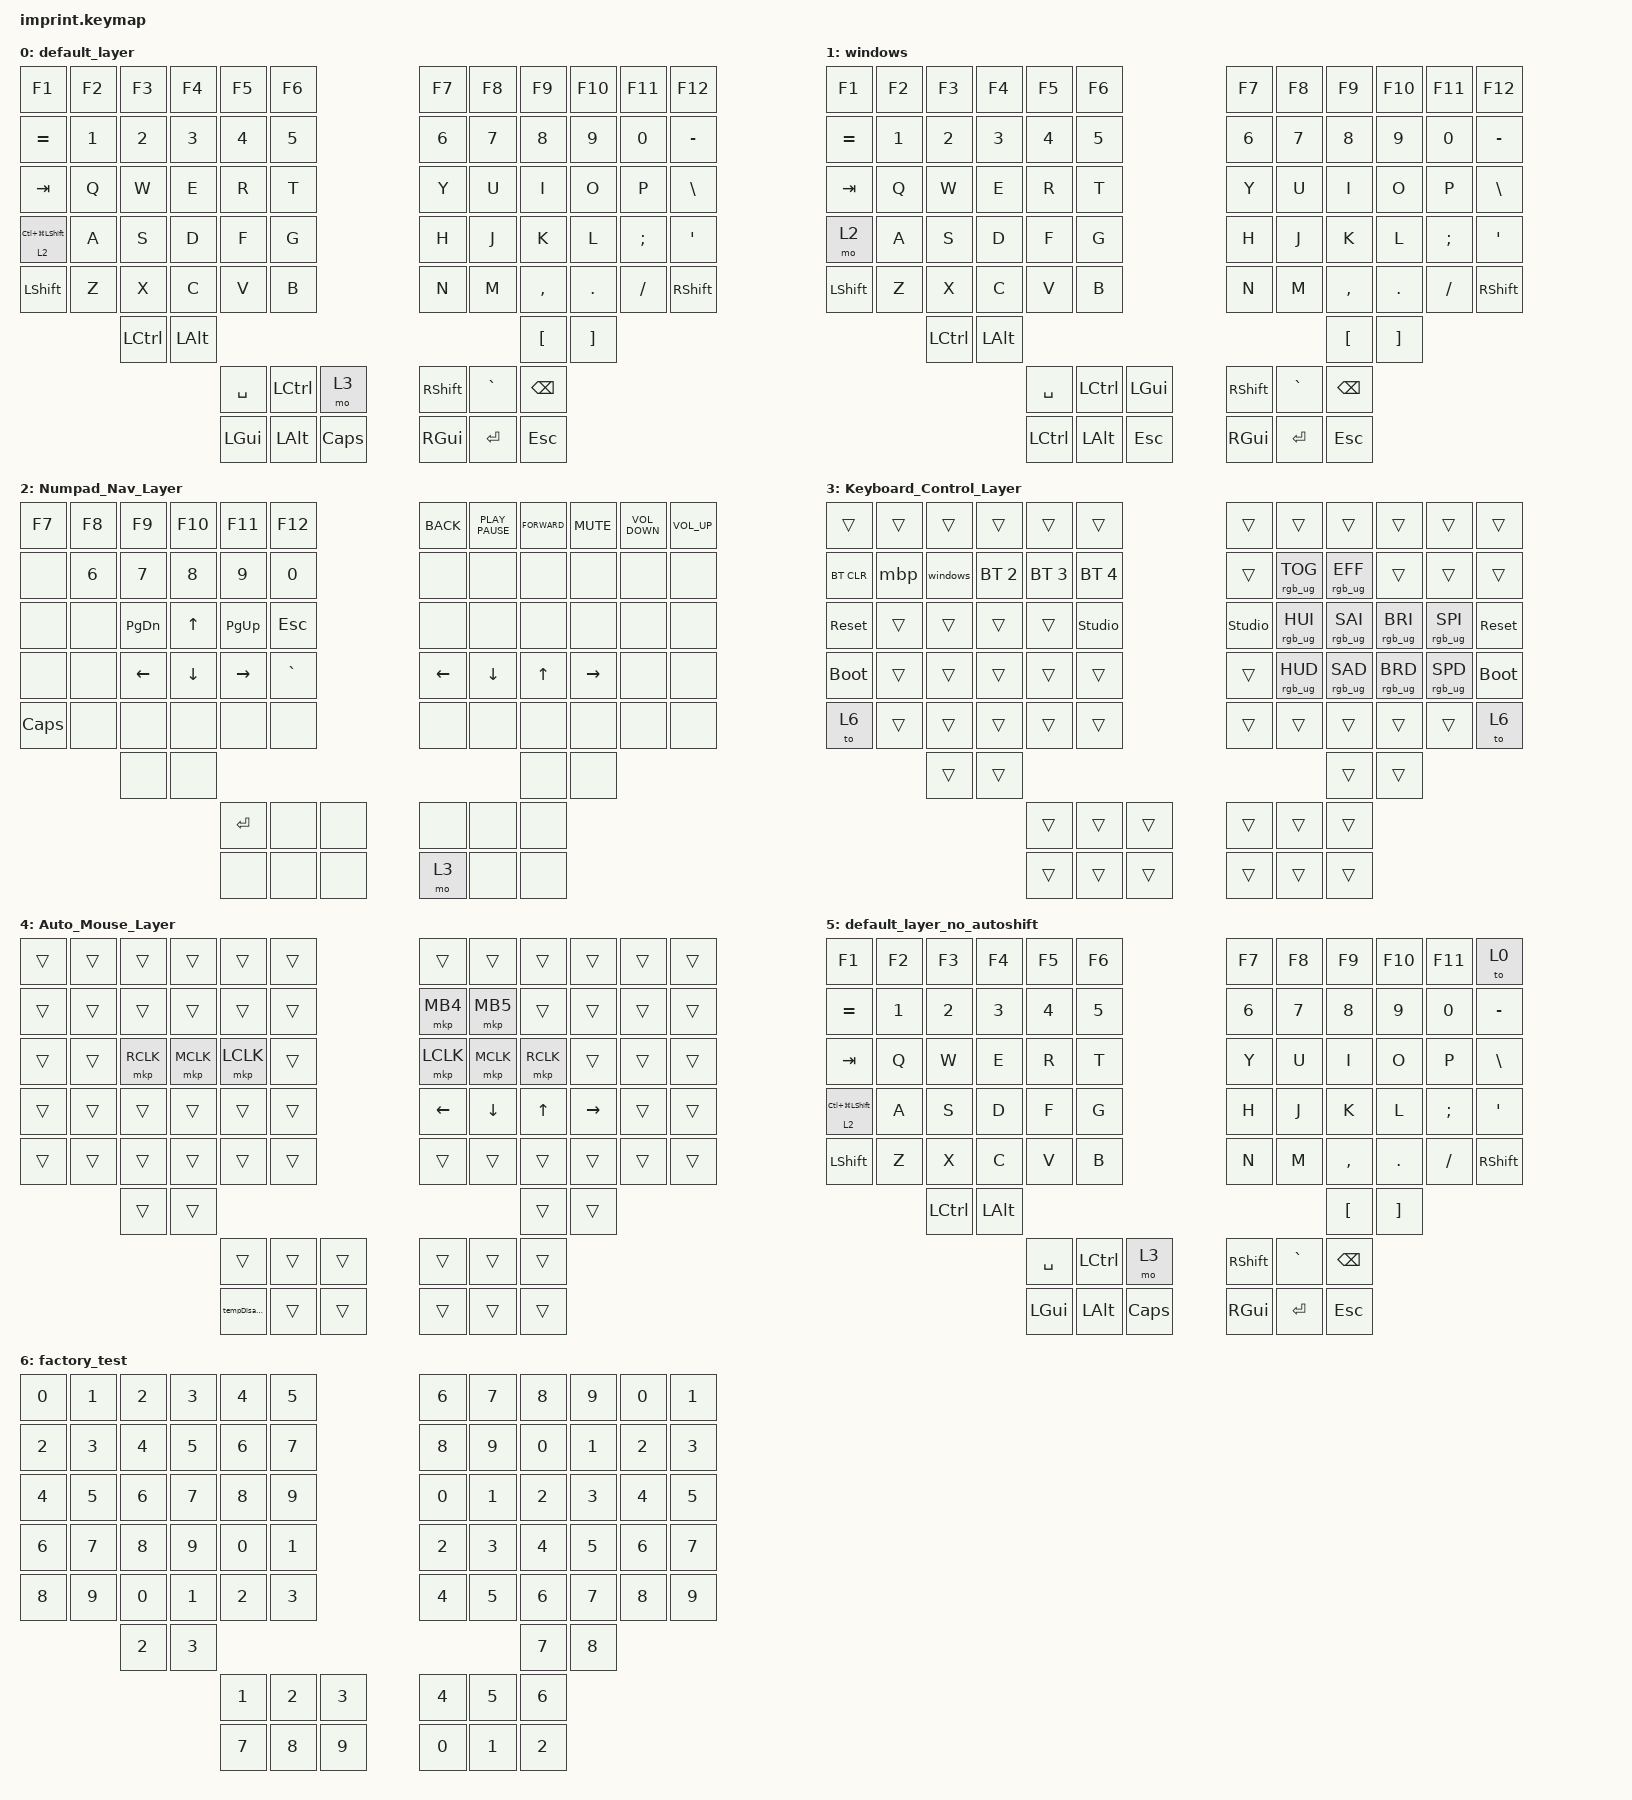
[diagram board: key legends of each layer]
#include <input/processors.dtsi>
#include <dt-bindings/zmk/input_transform.h>
#include <zephyr/dt-bindings/input/input-event-codes.h>
#include <behaviors.dtsi>
#include <dt-bindings/zmk/bt.h>
#include <dt-bindings/zmk/keys.h>
#include <dt-bindings/zmk/pointing.h>
#include <dt-bindings/zmk/rgb.h>

/ {
    chosen { zmk,matrix-transform = &imprint_function_row; };

    combos { compatible = "zmk,combos"; };

    macros {
        mbp: mbp {
            compatible = "zmk,behavior-macro";
            label = "macro_switch_to_mbp";
            #binding-cells = <0>;
            bindings = <&bt BT_SEL 0 &to 0>;
        };

        windows: windows {
            compatible = "zmk,behavior-macro";
            label = "macro_switch_to_windows";
            #binding-cells = <0>;
            bindings = <&bt BT_SEL 1 &to 1>;
        };

        tempDisableAutoMouseLayer: tempDisableAutoMouseLayer {
            compatible = "zmk,behavior-macro";
            #binding-cells = <0>;
            bindings =
                <&macro_press>,
                <&mo 5 &kp LGUI>,
                <&macro_pause_for_release>,
                <&macro_release>,
                <&mo 5 &kp LGUI>;

            label = "TEMPDISABLEAUTOMOUSELAYER";
        };
    };

    keymap {
        compatible = "zmk,keymap";

        default_layer {
            bindings = <
&kp F1                    &kp F2  &kp F3     &kp F4    &kp F5     &kp F6                        &kp F7           &kp F8     &kp F9         &kp F10   &kp F11   &kp F12
&kp EQUAL                 &kp N1  &kp N2     &kp N3    &kp N4     &kp N5                        &kp N6           &kp N7     &kp N8         &kp N9    &kp N0    &kp MINUS
&kp TAB                   &kp Q   &kp W      &kp E     &kp R      &kp T                         &kp Y            &kp U      &kp I          &kp O     &kp P     &kp BSLH
&lt 2 LC(LG(LEFT_SHIFT))  &kp A   &kp S      &kp D     &kp F      &kp G                         &kp H            &kp J      &kp K          &kp L     &kp SEMI  &kp SQT
&kp LSHFT                 &kp Z   &kp X      &kp C     &kp V      &kp B                         &kp N            &kp M      &kp COMMA      &kp DOT   &kp FSLH  &kp RSHFT
                                  &kp LCTRL  &kp LALT                                                                       &kp LBKT       &kp RBKT
                                                       &kp SPACE  &kp LCTRL     &mo 3           &kp RIGHT_SHIFT  &kp GRAVE  &kp BACKSPACE
                                                       &kp LGUI   &kp LEFT_ALT  &kp CAPSLOCK    &kp RGUI         &kp ENTER  &kp ESC
            >;
        };

        windows {
            bindings = <
&kp F1     &kp F2  &kp F3     &kp F4    &kp F5            &kp F6                        &kp F7           &kp F8     &kp F9         &kp F10   &kp F11   &kp F12
&kp EQUAL  &kp N1  &kp N2     &kp N3    &kp N4            &kp N5                        &kp N6           &kp N7     &kp N8         &kp N9    &kp N0    &kp MINUS
&kp TAB    &kp Q   &kp W      &kp E     &kp R             &kp T                         &kp Y            &kp U      &kp I          &kp O     &kp P     &kp BSLH
&mo 2      &kp A   &kp S      &kp D     &kp F             &kp G                         &kp H            &kp J      &kp K          &kp L     &kp SEMI  &kp SQT
&kp LSHFT  &kp Z   &kp X      &kp C     &kp V             &kp B                         &kp N            &kp M      &kp COMMA      &kp DOT   &kp FSLH  &kp RSHFT
                   &kp LCTRL  &kp LALT                                                                              &kp LBKT       &kp RBKT
                                        &kp SPACE         &kp LCTRL     &kp LEFT_GUI    &kp RIGHT_SHIFT  &kp GRAVE  &kp BACKSPACE
                                        &kp LEFT_CONTROL  &kp LEFT_ALT  &kp ESCAPE      &kp RGUI         &kp ENTER  &kp ESC
            >;
        };

        Numpad_Nav_Layer {
            bindings = <
&kp F7    &kp F8  &kp F9          &kp F10         &kp F11          &kp F12             &kp K_BACK  &kp K_PLAY_PAUSE  &kp K_FORWARD  &kp K_MUTE  &kp C_VOLUME_DOWN  &kp C_VOLUME_UP
&none     &kp N6  &kp N7          &kp N8          &kp N9           &kp N0              &none       &none             &none          &none       &none              &none
&none     &none   &kp PAGE_DOWN   &kp UP_ARROW    &kp PAGE_UP      &kp ESC             &none       &none             &none          &none       &none              &none
&none     &none   &kp LEFT_ARROW  &kp DOWN_ARROW  &kp RIGHT_ARROW  &kp GRAVE           &kp LEFT    &kp DOWN          &kp UP_ARROW   &kp RIGHT   &none              &none
&kp CAPS  &none   &none           &none           &none            &none               &none       &none             &none          &none       &none              &none
                  &none           &none                                                                              &none          &none
                                                  &kp ENTER        &none      &none    &none       &none             &none
                                                  &none            &none      &none    &mo 3       &none             &none
            >;
        };

        Keyboard_Control_Layer {
            bindings = <
&trans       &trans  &trans    &trans        &trans        &trans                    &trans          &trans           &trans           &trans           &trans           &trans
&bt BT_CLR   &mbp    &windows  &bt BT_SEL 2  &bt BT_SEL 3  &bt BT_SEL 4              &trans          &rgb_ug RGB_TOG  &rgb_ug RGB_EFF  &trans           &trans           &trans
&sys_reset   &trans  &trans    &trans        &trans        &studio_unlock            &studio_unlock  &rgb_ug RGB_HUI  &rgb_ug RGB_SAI  &rgb_ug RGB_BRI  &rgb_ug RGB_SPI  &sys_reset
&bootloader  &trans  &trans    &trans        &trans        &trans                    &trans          &rgb_ug RGB_HUD  &rgb_ug RGB_SAD  &rgb_ug RGB_BRD  &rgb_ug RGB_SPD  &bootloader
&to 6        &trans  &trans    &trans        &trans        &trans                    &trans          &trans           &trans           &trans           &trans           &to 6
                     &trans    &trans                                                                                 &trans           &trans
                                             &trans        &trans          &trans    &trans          &trans           &trans
                                             &trans        &trans          &trans    &trans          &trans           &trans
            >;
        };

        Auto_Mouse_Layer {
            bindings = <
&trans  &trans  &trans     &trans     &trans                      &trans            &trans     &trans     &trans     &trans     &trans  &trans
&trans  &trans  &trans     &trans     &trans                      &trans            &mkp MB4   &mkp MB5   &trans     &trans     &trans  &trans
&trans  &trans  &mkp RCLK  &mkp MCLK  &mkp LCLK                   &trans            &mkp LCLK  &mkp MCLK  &mkp RCLK  &trans     &trans  &trans
&trans  &trans  &trans     &trans     &trans                      &trans            &kp LEFT   &kp DOWN   &kp UP     &kp RIGHT  &trans  &trans
&trans  &trans  &trans     &trans     &trans                      &trans            &trans     &trans     &trans     &trans     &trans  &trans
                &trans     &trans                                                                         &trans     &trans
                                      &trans                      &trans  &trans    &trans     &trans     &trans
                                      &tempDisableAutoMouseLayer  &trans  &trans    &trans     &trans     &trans
            >;
        };

        default_layer_no_autoshift {
            bindings = <
&kp F1                    &kp F2  &kp F3     &kp F4    &kp F5     &kp F6                        &kp F7           &kp F8     &kp F9         &kp F10   &kp F11   &to 0
&kp EQUAL                 &kp N1  &kp N2     &kp N3    &kp N4     &kp N5                        &kp N6           &kp N7     &kp N8         &kp N9    &kp N0    &kp MINUS
&kp TAB                   &kp Q   &kp W      &kp E     &kp R      &kp T                         &kp Y            &kp U      &kp I          &kp O     &kp P     &kp BSLH
&lt 2 LC(LG(LEFT_SHIFT))  &kp A   &kp S      &kp D     &kp F      &kp G                         &kp H            &kp J      &kp K          &kp L     &kp SEMI  &kp SQT
&kp LSHFT                 &kp Z   &kp X      &kp C     &kp V      &kp B                         &kp N            &kp M      &kp COMMA      &kp DOT   &kp FSLH  &kp RSHFT
                                  &kp LCTRL  &kp LALT                                                                       &kp LBKT       &kp RBKT
                                                       &kp SPACE  &kp LCTRL     &mo 3           &kp RIGHT_SHIFT  &kp GRAVE  &kp BACKSPACE
                                                       &kp LGUI   &kp LEFT_ALT  &kp CAPSLOCK    &kp RGUI         &kp ENTER  &kp ESC
            >;
        };

        factory_test {
            bindings = <
&kp N0  &kp N1  &kp N2  &kp N3  &kp N4  &kp N5            &kp N6  &kp N7  &kp N8  &kp N9  &kp N0  &kp N1
&kp N2  &kp N3  &kp N4  &kp N5  &kp N6  &kp N7            &kp N8  &kp N9  &kp N0  &kp N1  &kp N2  &kp N3
&kp N4  &kp N5  &kp N6  &kp N7  &kp N8  &kp N9            &kp N0  &kp N1  &kp N2  &kp N3  &kp N4  &kp N5
&kp N6  &kp N7  &kp N8  &kp N9  &kp N0  &kp N1            &kp N2  &kp N3  &kp N4  &kp N5  &kp N6  &kp N7
&kp N8  &kp N9  &kp N0  &kp N1  &kp N2  &kp N3            &kp N4  &kp N5  &kp N6  &kp N7  &kp N8  &kp N9
                &kp N2  &kp N3                                            &kp N7  &kp N8
                                &kp N1  &kp N2  &kp N3    &kp N4  &kp N5  &kp N6
                                &kp N7  &kp N8  &kp N9    &kp N0  &kp N1  &kp N2
            >;
        };
    };
};

//right hand trackball configuration

&trackball_peripheral_listener {
    input-processors =
        // this gets it to the default installation orientation,,,,,,,,,
        //<&zip_xy_transform INPUT_TRANSFORM_XY_SWAP>;,,,,,,,,
        //activate layer 4 within 250ms of the trackball moving,,,,,,,,
        <&zip_temp_layer 4 250>;
};

//left hand trackball configuration

&trackball_central_listener {
    input-processors =
        // this gets it to the default installation orientation,,,,,,,,,,,,,,,,,,,,,,,,,,,,,,,,,,,,,,,,,,,,
        // <&zip_xy_transform INPUT_TRANSFORM_XY_SWAP>,,,,,,,,,,,,,,,,,,,,,,,,,,,,,,,,,
        // multiply sensitivity by 1, divide by 6 (make it slower for scrolling),,,,,,,,,,,,,,,,,,,,,,,,,,,,,,,,,,,,,,,,,,,,
        <&zip_xy_scaler 1 12>,
        // make this trackball output scrolling events by default instead of cursor movement,,,,,,,,,,,,,,,,,,,,,,,,,,,,,,,,,,,,,,,,,
        <&zip_xy_to_scroll_mapper>,
        // invert vertical scrolling so that the view moves in the same direction as the top of the trackball.,,,,,,,,,,,,,
        <&zip_scroll_transform INPUT_TRANSFORM_Y_INVERT>;
};
